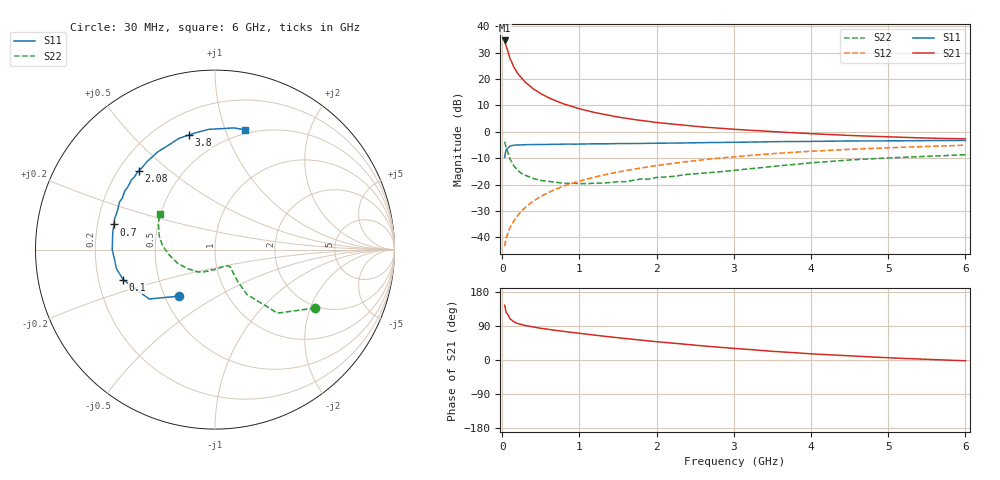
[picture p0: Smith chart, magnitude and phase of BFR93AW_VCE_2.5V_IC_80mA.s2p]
! Infineon Technologies  Discrete & RF Semiconductors
! BFR93AW
! VCE =  2.5 V,  IC =  80 mA
! Common Emitter S-Parameters:  Nov 2015
# GHz  S  MA  R  50
!  f  S11  S21  S12  S22
! GHz  MAG  ANG  MAG  ANG  MAG  ANG  MAG  ANG
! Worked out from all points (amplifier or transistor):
!   206 points, 30 MHz to 6 GHz, reference 50 ohm
!   highest |S21| = 34.6 dB at 30 MHz (marker M1)
!   |S21| within 3 dB of that: start of sweep to 59.6 MHz
!   unconditionally stable (mu >= 1): 145.5 MHz to 3.056 GHz
!   at 200 MHz: K = 1.07, MAG = 25.3 dB, |S12| = -31.7 dB
!   at 1.56 GHz: K = 1.10, MAG = 8.1 dB, |S12| = -14.9 dB
!   at 6 GHz: K = 0.99, MSG = 1.2 dB, |S12| = -5.1 dB
!   S11 on the Smith chart (normalised r, x): 30 MHz: 0.59, -0.34; 100 MHz: 0.31, -0.15; 700 MHz: 0.27, +0.11; 2.08 GHz: 0.28, +0.39; 3.8 GHz: 0.33, +0.74; 6 GHz: 0.46, +1.17
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0.03  0.3277 -127.7  54.01 144.6  0.0068 64.4  0.6473 -30.2
0.05  0.4583 -143.1  41.76 125.4  0.0096 63.3  0.4963 -45.5
0.1  0.5385 -161.8  24.37 108.1  0.0153 68.0  0.305 -54.6
0.15  0.56 -169.3  16.8 100.8  0.0206 70.4  0.2245 -54.6
0.2  0.5621 -174.0  12.82 96.3  0.0259 71.8  0.1863 -53.4
0.24  0.5662 -177.0  10.82 93.9  0.0305 73.5  0.1666 -52.1
0.26  0.5685 -178.2  9.986 92.8  0.0328 74.2  0.1592 -51.5
0.3  0.5728 -180.0  8.652 90.8  0.0371 75.1  0.1493 -50.5
0.4  0.5725 175.5  6.531 86.9  0.0482 75.9  0.131 -48.8
0.5  0.5763 171.9  5.274 83.6  0.0596 76.1  0.1197 -50.1
0.6  0.5787 169.2  4.426 80.7  0.0709 76.5  0.1146 -51.8
0.7  0.5794 166.0  3.83 77.9  0.0826 76.1  0.1108 -55.1
0.82  0.585 162.6  3.297 74.8  0.0961 75.6  0.1054 -61.0
1.04  0.5873 156.9  2.648 69.4  0.1212 73.8  0.1043 -70.8
1.48  0.5985 147.3  1.932 59.2  0.1709 70.1  0.1128 -93.1
2.02  0.6098 135.4  1.494 47.9  0.2315 64.4  0.1371 -115.5
2.08  0.6098 134.2  1.463 46.8  0.2381 63.7  0.1386 -117.3
3.1  0.6355 114.7  1.095 29.2  0.3459 51.9  0.1917 -148.4
3.8  0.6545 103.0  0.956 19.1  0.411 43.4  0.2423 -168.8
4.1  0.6607 98.4  0.908 15.3  0.4361 39.9  0.265 -176.2
5.1  0.6762 85.7  0.795 5.0  0.5051 28.4  0.3246 164.0
6  0.6878 76.0  0.736 -2.1  0.5578 19.2  0.3675 147.2
